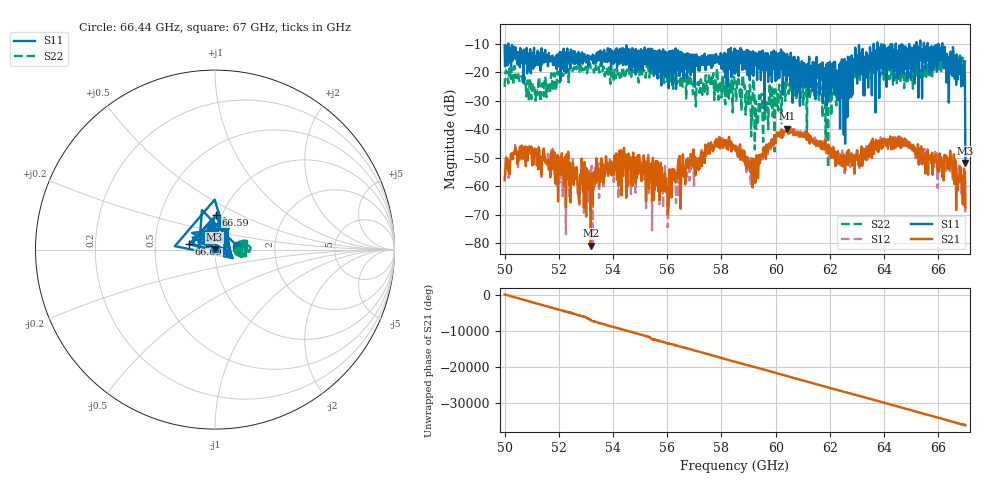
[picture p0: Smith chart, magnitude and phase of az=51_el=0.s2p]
!Created with skrf (http://scikit-rf.org).
# GHz S RI R 50.0
!freq ReS11 ImS11 ReS21 ImS21 ReS12 ImS12 ReS22 ImS22
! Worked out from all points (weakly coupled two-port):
!   1001 points, 50 GHz to 67 GHz, reference 50 ohm
!   highest |S21| = -39.84 dB at 60.42 GHz (marker M1); lowest = -80.9 dB at 53.18 GHz (marker M2)
!   lowest |S11| = -51.9 dB at 67 GHz (marker M3), VSWR 1.01, Z = 49.8 + j0.0678 ohm
!   |S11| at or under -10 dB: 50.14 GHz to 63.62 GHz (13.48 GHz wide, 23.7 % of centre); 63.76 GHz to 64.43 GHz (676.9 MHz wide, 1.06 % of centre); 66.15 GHz to end of sweep (the widest 3 of 12)
!   |S22| runs from -53.5 to -14.0 dB; largest |S21 - S12| = 0.002
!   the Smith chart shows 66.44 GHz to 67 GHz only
!   S11 on the Smith chart (normalised r, x): 66.44 GHz: 1.28, +0.05; 66.59 GHz: 0.94, +0.38; 66.69 GHz: 0.75, +0.05; 67 GHz: 1.00, +0.00
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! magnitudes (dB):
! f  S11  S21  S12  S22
! 50 GHz  -10.5  -57.9  -57.3  -25.1
! 50.9 GHz  -14.4  -48.0  -48.4  -28.4
! 52.84 GHz  -14.5  -50.3  -51.6  -19.4
! 53.18 GHz  -15.0  -80.9  -66.9  -18.7
! 54.32 GHz  -14.2  -63.3  -61.3  -20.8
! 55.68 GHz  -14.0  -61.9  -61.2  -22.0
! 55.97 GHz  -21.7  -62.2  -59.6  -19.2
! 57.53 GHz  -14.0  -44.9  -45.7  -22.2
! 58.5 GHz  -20.5  -46.5  -45.4  -24.4
! 59.23 GHz  -17.3  -50.5  -52.5  -47.1
! 60.42 GHz  -13.5  -39.8  -40.2  -24.3
! 61.34 GHz  -25.0  -43.7  -44.2  -24.9
! 61.88 GHz  -31.6  -45.9  -46.4  -23.1
! 62.46 GHz  -18.7  -49.4  -46.9  -21.7
! 63.01 GHz  -23.9  -47.4  -47.4  -20.1
! 64.18 GHz  -18.3  -43.6  -43.5  -18.6
! 66.08 GHz  -15.7  -49.7  -53.0  -15.6
! 66.44 GHz  -18.0  -47.5  -51.7  -17.8
! 66.59 GHz  -14.2  -59.2  -54.0  -16.0
! 66.69 GHz  -16.6  -56.3  -54.3  -15.8
! 66.9 GHz  -17.4  -56.8  -61.0  -15.0
! 67 GHz  -51.9  -67.7  -69.3  -15.7
